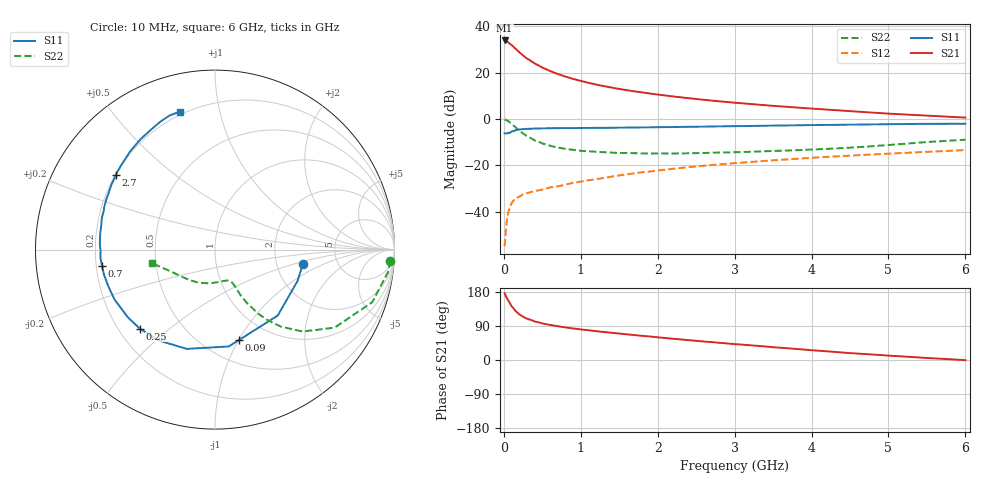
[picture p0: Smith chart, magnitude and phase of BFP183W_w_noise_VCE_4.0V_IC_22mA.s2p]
! Infineon Technologies  Discrete & RF Semiconductors
! BFP183W
! VCE =  4.0 V,  IC =  22 mA
! Common Emitter S-Parameters:  Jan 2017
# GHz  S  MA  R  50
!  f  S11  S21  S12  S22
! GHz  MAG  ANG  MAG  ANG  MAG  ANG  MAG  ANG
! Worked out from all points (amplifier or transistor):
!   77 points, 10 MHz to 6 GHz, reference 50 ohm
!   highest |S21| = 34.0 dB at 10 MHz (marker M1)
!   |S21| within 3 dB of that: start of sweep to 133.2 MHz
!   unconditionally stable (mu >= 1): 1.113 GHz to 3.51 GHz
!   at 130 MHz: K = 0.25, MSG = 33.1 dB, |S12| = -35.1 dB
!   at 2.2 GHz: K = 1.06, MAG = 14.1 dB, |S12| = -21.5 dB
!   at 6 GHz: K = 0.87, MSG = 7.0 dB, |S12| = -13.4 dB
!   lowest NFmin = 1.22 dB at 450 MHz
!   S11 on the Smith chart (normalised r, x): 10 MHz: 2.83, -0.59; 90 MHz: 0.72, -1.00; 250 MHz: 0.29, -0.40; 700 MHz: 0.22, -0.07; 2.7 GHz: 0.20, +0.32; 6 GHz: 0.18, +0.76
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0.01  0.4962 -9.1  49.84 176.2  0.0018 87.0  0.9794 -3.7
0.02  0.4922 -20.6  49.18 171.3  0.0028 81.0  0.9712 -7.6
0.05  0.507 -46.4  46.45 159.2  0.0085 72.3  0.9237 -18.5
0.09  0.522 -75.4  40.87 145.9  0.0138 63.6  0.8171 -29.8
0.1  0.5451 -81.9  39.87 142.1  0.0152 62.4  0.7962 -33.1
0.15  0.5752 -105.9  33.26 129.8  0.0193 53.4  0.668 -43.1
0.2  0.5957 -121.9  27.77 120.7  0.021 47.5  0.5654 -49.4
0.25  0.6074 -133.5  23.63 114.0  0.0237 46.7  0.488 -53.4
0.3  0.6147 -142.0  20.37 109.1  0.0251 45.4  0.4282 -56.1
0.4  0.6252 -153.5  15.93 101.7  0.0278 46.6  0.3478 -59.1
0.5  0.6287 -161.3  12.95 96.6  0.03 47.1  0.2987 -60.5
0.6  0.6342 -167.3  10.94 92.5  0.0334 49.1  0.2657 -61.1
0.7  0.6359 -171.8  9.416 89.2  0.0352 50.6  0.2424 -61.2
0.9  0.6375 -179.3  7.362 83.2  0.042 54.1  0.2162 -62.1
1.1  0.6438 174.8  6.067 78.5  0.0477 56.4  0.2018 -63.3
1.5  0.6529 165.3  4.469 69.8  0.0607 58.3  0.1856 -67.9
2.1  0.6694 153.3  3.228 58.0  0.0809 58.5  0.1809 -79.8
2.7  0.691 143.0  2.51 47.2  0.1016 57.0  0.1872 -95.3
3.1  0.7053 136.8  2.187 40.5  0.115 55.1  0.1942 -105.8
4.1  0.7443 122.9  1.642 24.4  0.149 49.7  0.2231 -131.7
5.1  0.7773 112.3  1.284 10.4  0.1822 43.8  0.2833 -155.8
6  0.793 104.4  1.075 -0.5  0.214 37.9  0.3582 -168.1
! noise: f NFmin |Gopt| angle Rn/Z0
0.45  1.22  0.22  174  0.1
0.9  1.25  0.26  177  0.09
1.9  1.73  0.41  -161  0.09
2.4  1.96  0.46  -155  0.12
